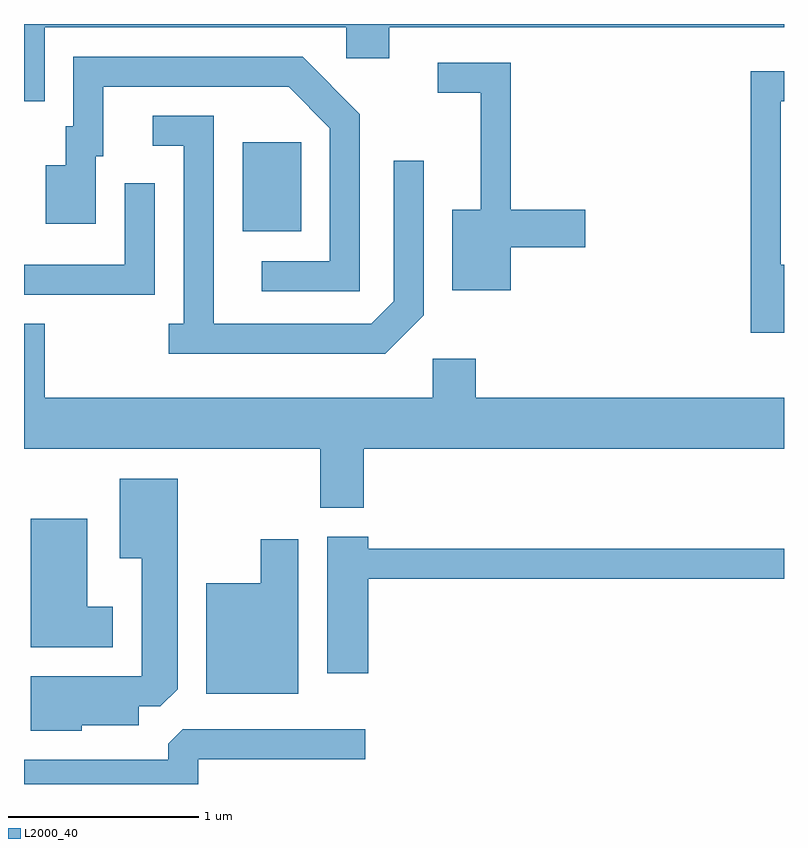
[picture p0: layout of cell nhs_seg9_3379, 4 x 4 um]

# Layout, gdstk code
import gdstk
lib = gdstk.Library(unit=1e-6, precision=1e-09)
def R(c, l, rs):  # rectangles x0, y0, x1, y1
    for r in rs: c.add(gdstk.rectangle(r[:2], r[2:], *l))
def P(c, l, *ps):  # polygons
    for p in ps: c.add(gdstk.Polygon(p, *l))
L2000_40 = (2000, 40)

nhs_seg9_3379 = lib.new_cell('nhs_seg9_3379')
R(nhs_seg9_3379, L2000_40, [(284.761,2057.341,285.069,2057.809)])
P(nhs_seg9_3379, L2000_40, [(283.719,2058.416),(285.306,2058.416),(285.306,2058.251),(285.534,2058.251),(285.534,2058.416),(287.611,2058.416),(287.611,2058.432),(283.611,2058.432),(283.611,2058.026),(283.719,2058.026)],
  [(285.379,2057.957),(285.077,2058.259),(283.871,2058.259),(283.871,2057.894),(283.831,2057.894),(283.831,2057.689),(283.726,2057.689),(283.726,2057.381),(283.989,2057.381),(283.989,2057.736),(284.029,2057.736),(284.029,2058.101),(285.004,2058.101),(285.221,2057.884),(285.221,2057.184),(284.863,2057.184),(284.863,2057.026),(285.379,2057.026)],
  [(286.174,2057.256),(286.564,2057.256),(286.564,2057.454),(286.174,2057.454),(286.174,2058.229),(285.788,2058.229),(285.788,2058.071),(286.016,2058.071),(286.016,2057.454),(285.866,2057.454),(285.866,2057.031),(286.174,2057.031)],
  [(287.611,2057.164),(287.594,2057.164),(287.594,2058.026),(287.611,2058.026),(287.611,2058.184),(287.436,2058.184),(287.436,2056.806),(287.611,2056.806)],
  [(285.714,2056.899),(285.714,2057.713),(285.556,2057.713),(285.556,2056.972),(285.439,2056.854),(284.609,2056.854),(284.609,2057.949),(284.288,2057.949),(284.288,2057.791),(284.451,2057.791),(284.451,2056.854),(284.373,2056.854),(284.373,2056.696),(285.512,2056.696)],
  [(284.299,2057.593),(284.141,2057.593),(284.141,2057.164),(283.611,2057.164),(283.611,2057.006),(284.299,2057.006)],
  [(285.399,2056.196),(287.611,2056.196),(287.611,2056.464),(285.989,2056.464),(285.989,2056.669),(285.761,2056.669),(285.761,2056.464),(283.719,2056.464),(283.719,2056.854),(283.611,2056.854),(283.611,2056.196),(285.171,2056.196),(285.171,2055.886),(285.399,2055.886)],
  [(283.914,2054.741),(284.214,2054.741),(284.214,2054.841),(284.329,2054.841),(284.419,2054.932),(284.419,2056.039),(284.116,2056.039),(284.116,2055.621),(284.231,2055.621),(284.231,2054.999),(283.646,2054.999),(283.646,2054.711),(283.914,2054.711)],
  [(284.079,2055.364),(283.944,2055.364),(283.944,2055.829),(283.646,2055.829),(283.646,2055.151),(284.079,2055.151)],
  [(285.424,2055.511),(287.611,2055.511),(287.611,2055.669),(285.424,2055.669),(285.424,2055.734),(285.206,2055.734),(285.206,2055.016),(285.424,2055.016)],
  [(285.054,2055.719),(284.856,2055.719),(284.856,2055.489),(284.571,2055.489),(284.571,2054.906),(285.054,2054.906)],
  [(284.529,2054.561),(285.408,2054.561),(285.408,2054.719),(284.447,2054.719),(284.371,2054.644),(284.371,2054.559),(283.611,2054.559),(283.611,2054.432),(284.529,2054.432)])

lib.write_gds('nhs_seg9_3379.gds')
